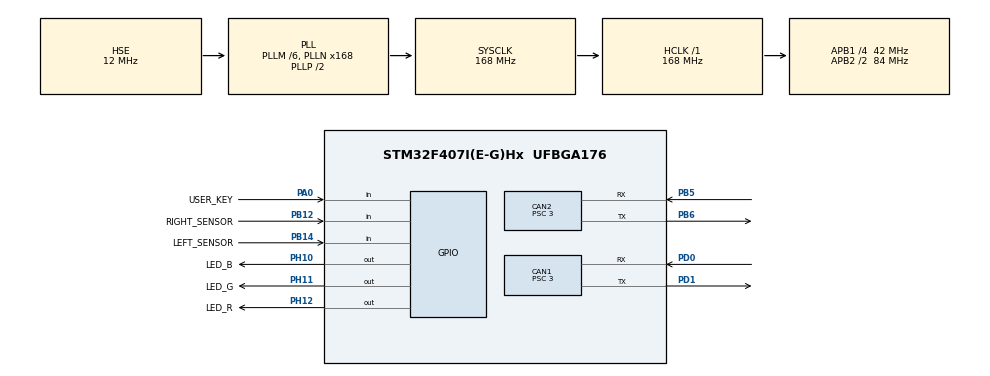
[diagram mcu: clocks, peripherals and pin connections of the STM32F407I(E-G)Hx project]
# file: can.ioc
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CAN1.BS1=CAN_BS1_10TQ
CAN1.BS2=CAN_BS2_3TQ
CAN1.CalculateTimeQuantum=71.42857142857143
CAN1.Prescaler=3
CAN2.BS1=CAN_BS1_10TQ
CAN2.BS2=CAN_BS2_3TQ
CAN2.CalculateTimeQuantum=71.42857142857143
CAN2.Prescaler=3
Mcu.Family=STM32F4
Mcu.Name=STM32F407I(E-G)Hx
Mcu.Package=UFBGA176
NVIC.CAN1_RX0_IRQn=true\:0\:0\:false\:false\:true\:true\:true
NVIC.CAN2_RX0_IRQn=true\:0\:0\:false\:false\:true\:true\:true
NVIC.PriorityGroup=NVIC_PRIORITYGROUP_4
PA0-WKUP.GPIO_Label=USER_KEY
PA0-WKUP.Signal=GPIO_Input
PA13.Mode=Serial_Wire
PA13.Signal=SYS_JTMS-SWDIO
PA14.Mode=Serial_Wire
PA14.Signal=SYS_JTCK-SWCLK
PB12.GPIO_Label=RIGHT_SENSOR
PB12.GPIO_PuPd=GPIO_PULLDOWN
PB12.Signal=GPIO_Input
PB14.GPIO_Label=LEFT_SENSOR
PB14.GPIO_PuPd=GPIO_PULLDOWN
PB14.Signal=GPIO_Input
PB5.Mode=Slave
PB5.Signal=CAN2_RX
PB6.Mode=Slave
PB6.Signal=CAN2_TX
PD0.Mode=Master
PD0.Signal=CAN1_RX
PD1.Mode=Master
PD1.Signal=CAN1_TX
PH0-OSC_IN.Mode=HSE-External-Oscillator
PH0-OSC_IN.Signal=RCC_OSC_IN
PH1-OSC_OUT.Mode=HSE-External-Oscillator
PH1-OSC_OUT.Signal=RCC_OSC_OUT
PH10.GPIO_Label=LED_B
PH10.GPIO_PuPd=GPIO_NOPULL
PH10.Signal=GPIO_Output
PH11.GPIO_Label=LED_G
PH11.Signal=GPIO_Output
PH12.GPIO_Label=LED_R
PH12.Signal=GPIO_Output
ProjectManager.HeapSize=0x200
ProjectManager.StackSize=0x400
ProjectManager.TargetToolchain=MDK-ARM V5
RCC.48MHZClocksFreq_Value=84000000
RCC.AHBFreq_Value=168000000
RCC.APB1CLKDivider=RCC_HCLK_DIV4
RCC.APB1Freq_Value=42000000
RCC.APB1TimFreq_Value=84000000
RCC.APB2CLKDivider=RCC_HCLK_DIV2
RCC.APB2Freq_Value=84000000
RCC.APB2TimFreq_Value=168000000
RCC.CortexFreq_Value=168000000
RCC.HCLKFreq_Value=168000000
RCC.HSE_VALUE=12000000
RCC.HSI_VALUE=16000000
RCC.LSE_VALUE=32768
RCC.PLLM=6
RCC.PLLN=168
RCC.PLLSourceVirtual=RCC_PLLSOURCE_HSE
RCC.SYSCLKFreq_VALUE=168000000
RCC.SYSCLKSource=RCC_SYSCLKSOURCE_PLLCLK
RCC.VCOOutputFreq_Value=336000000
board=custom

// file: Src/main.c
/* USER CODE BEGIN Header */
/**
  ******************************************************************************
  * @file           : main.c
  * @brief          : Main program body
  ******************************************************************************
  * @attention
  *
  * <h2><center>&copy; Copyright (c) 2019 STMicroelectronics.
  * All rights reserved.</center></h2>
  *
  * This software component is licensed by ST under BSD 3-Clause license,
  * the "License"; You may not use this file except in compliance with the
  * License. You may obtain a copy of the License at:
  *                        opensource.org/licenses/BSD-3-Clause
  *
  ******************************************************************************
  */
/* USER CODE END Header */
#include "main.h"
#include "can.h"
#include "gpio.h"

/* USER CODE BEGIN Includes */
#include "bsp_can.h"
#include "CAN_receive.h"
#include "pid.h"
#include<stdlib.h>
/* USER CODE END Includes */

/* USER CODE BEGIN PM */
#define MAX_SPEED 5000  // divide by 9 gets rpm  // 3000 before
#define REBOUNCE_TIME 1000  // in ms
#define ROBOT_ID 0  // the id of the motor, 0-3
#define MAX_CHANGE_TIME 2000  // in ms, decide when to change TODO: make this bigger
// pid for motor, p small so smooth control
#define RPM_P 1.5  // 1.5 works fine
#define RPM_I 0.1
#define RPM_D 0
// change of rpm per 5ms, smaller transition will be faster but more abrupt (for smooth_transitino)
#define INC_RPM 50
// transition time in ms*10 (for transition())
#define INC_TIME 50
// to enable transition, 0 for none, 1 for fixed time transition, 2 for smooth transition
#define TRANSITION 0
/* USER CODE END PM */

/* USER CODE BEGIN PV */
// PID struct
PID_TypeDef motor_pid[4];

// speed of motor in rpm
float speed;
// count random time
uint16_t random_timer;
// randomly change direction
int8_t direction;
// counter for sensor turning
uint16_t sensor_counter = 0;

/* USER CODE END PV */

void SystemClock_Config(void);
/* USER CODE BEGIN PFP */
// make a smooth transition of speed
void smooth_transition(float pre_speed, float set_speed);
// with transition but not smooth
void transition(float pre_speed, float set_speed);
/* USER CODE END PFP */

int main(void)
{

  /* MCU Configuration--------------------------------------------------------*/

  /* Reset of all peripherals, Initializes the Flash interface and the Systick. */
  HAL_Init();

  /* Configure the system clock */
  SystemClock_Config();

  /* Initialize all configured peripherals */
  MX_GPIO_Init();
  MX_CAN1_Init();
  MX_CAN2_Init();
  /* USER CODE BEGIN 2 */
    can_filter_init();

		for(int i=0; i<4; i++)
  {

    pid_init(&motor_pid[i]);
    motor_pid[i].f_param_init(&motor_pid[i],PID_Speed,16384,5000,10,0,8000,0, RPM_P, RPM_I, RPM_D);  //pid初始化后面三个是PID系数。
	}
  /* USER CODE BEGIN 2 */

    HAL_GPIO_WritePin(LED_R_GPIO_Port, LED_R_Pin, GPIO_PIN_SET);
    HAL_GPIO_WritePin(LED_G_GPIO_Port, LED_G_Pin, GPIO_PIN_SET);
    HAL_GPIO_WritePin(LED_B_GPIO_Port, LED_B_Pin, GPIO_PIN_SET);

  /* USER CODE END 2 */

  /* Infinite loop */
  /* USER CODE BEGIN WHILE */
	// set random speed
	srand((uint32_t)(HAL_GetTick()));
	// random direction
	direction = rand()%2;
	if (!direction){
		direction = -1;
	}

	// init speed to random speed
	speed = MAX_SPEED * (float)(rand()%50 + 50)/100 * direction;  // 50% to 100% * random direction

	// set random timer
	random_timer = MAX_CHANGE_TIME/10 * (float)(rand()%80 + 20)/100;  // ticks every 10 ms

  while (1)
  {
		HAL_Delay(10);

		// update sensor counter for censor time
		if (sensor_counter != 0){
			sensor_counter--;

			// set led red as indicator that it's in sensor state
			HAL_GPIO_WritePin(LED_R_GPIO_Port,LED_R_Pin, (GPIO_PinState)1);
			HAL_GPIO_WritePin(LED_G_GPIO_Port,LED_G_Pin, (GPIO_PinState)0);
			HAL_GPIO_WritePin(LED_B_GPIO_Port,LED_B_Pin, (GPIO_PinState)0);
		}
		// update counter if not in sensor fall back
		else if (!random_timer){
			// set random speed
			srand((uint32_t)(HAL_GetTick()));
			int8_t direction = rand()%2;
			if (!direction){
				direction = -1;
			}

			float prev_speed = speed;
			speed = MAX_SPEED * (float)(rand()%80 + 20)/100 * direction;  // 50% to 100% * random direction

			// transit the speed
			if (TRANSITION == 0){
				motor_pid[ROBOT_ID].target = speed;
				motor_pid[ROBOT_ID].f_cal_pid(&motor_pid[ROBOT_ID],get_chassis_motor_measure_point(ROBOT_ID)->speed_rpm);
				CAN_cmd_chassis(motor_pid[ROBOT_ID].output, motor_pid[ROBOT_ID].output, motor_pid[ROBOT_ID].output, motor_pid[ROBOT_ID].output);

			}
			else if (TRANSITION == 1){
				transition(prev_speed, speed);
			}
			else{
				smooth_transition(prev_speed, speed);
			}

			// randomly change speed
			random_timer = MAX_CHANGE_TIME/10 * (float)(rand()%50 + 50)/100;  // ticks every 10 ms
		}
		else{
			// inc counter
			--random_timer;
		}

		// user key pressed
		if (!HAL_GPIO_ReadPin(USER_KEY_GPIO_Port,USER_KEY_Pin)){
//			// randomly change the speed
//			srand((uint32_t)(HAL_GetTick()));
//			int8_t direction = rand()%2;
//			if (!direction){
//				direction = -1;
//			}
//			speed = MAX_SPEED * (float)(rand()%50 + 50)/100 * direction;  // 50% to 100% * random direction

			// set led red as indicator
			HAL_GPIO_WritePin(LED_R_GPIO_Port,LED_R_Pin, (GPIO_PinState)1);
			HAL_GPIO_WritePin(LED_G_GPIO_Port,LED_G_Pin, (GPIO_PinState)0);
			HAL_GPIO_WritePin(LED_B_GPIO_Port,LED_B_Pin, (GPIO_PinState)0);
		}

		//left sensor
		else if (HAL_GPIO_ReadPin(RIGHT_SENSOR_GPIO_Port, RIGHT_SENSOR_Pin)){
			HAL_Delay(20);  // eliminate pulse
			if (HAL_GPIO_ReadPin(RIGHT_SENSOR_GPIO_Port, RIGHT_SENSOR_Pin)){
				// set led green as indicator
				HAL_GPIO_WritePin(LED_R_GPIO_Port,LED_R_Pin, (GPIO_PinState)0);
				HAL_GPIO_WritePin(LED_G_GPIO_Port,LED_G_Pin, (GPIO_PinState)1);
				HAL_GPIO_WritePin(LED_B_GPIO_Port,LED_B_Pin, (GPIO_PinState)0);

				// move right
				// update random speed when exit the move right
				random_timer = 0;

				// transit the speed
				if (TRANSITION == 0){
					// do nothing, send directly
				}
				else if (TRANSITION == 1){
					transition(speed, MAX_SPEED);
				}
				else{
					smooth_transition(speed, MAX_SPEED);
				}

				// still need to send speed otherwise will stop
				speed = MAX_SPEED;
				motor_pid[ROBOT_ID].target = speed;
				motor_pid[ROBOT_ID].f_cal_pid(&motor_pid[ROBOT_ID],get_chassis_motor_measure_point(ROBOT_ID)->speed_rpm);
				CAN_cmd_chassis(motor_pid[ROBOT_ID].output, motor_pid[ROBOT_ID].output, motor_pid[ROBOT_ID].output, motor_pid[ROBOT_ID].output);

				// delay for a while to go the other direction
				sensor_counter = REBOUNCE_TIME/10;
			}
		}

		// right sensor
		else if (HAL_GPIO_ReadPin(LEFT_SENSOR_GPIO_Port, LEFT_SENSOR_Pin)){
			HAL_Delay(20);  // eliminate pulse
			if (HAL_GPIO_ReadPin(LEFT_SENSOR_GPIO_Port, LEFT_SENSOR_Pin)){
				// set led blue as indicator
				HAL_GPIO_WritePin(LED_R_GPIO_Port,LED_R_Pin, (GPIO_PinState)0);
				HAL_GPIO_WritePin(LED_G_GPIO_Port,LED_G_Pin, (GPIO_PinState)0);
				HAL_GPIO_WritePin(LED_B_GPIO_Port,LED_B_Pin, (GPIO_PinState)1);

				// move left
				// update random speed when exit the move right
				random_timer = 0;

				// transit the speed
				if (TRANSITION == 0){
					// do nothing, send directly
				}
				else if (TRANSITION == 1){
					transition(speed, -MAX_SPEED);
				}
				else{
					smooth_transition(speed, -MAX_SPEED);
				}

				// set speed
				speed = -MAX_SPEED;
				motor_pid[ROBOT_ID].target = speed;
				motor_pid[ROBOT_ID].f_cal_pid(&motor_pid[ROBOT_ID],get_chassis_motor_measure_point(ROBOT_ID)->speed_rpm);
				CAN_cmd_chassis(motor_pid[ROBOT_ID].output, motor_pid[ROBOT_ID].output, motor_pid[ROBOT_ID].output, motor_pid[ROBOT_ID].output);

				// delay for a while to go the other direction
				sensor_counter = REBOUNCE_TIME/10;
			}
		}

		else{
			// set led white when in random state
			HAL_GPIO_WritePin(LED_R_GPIO_Port,LED_R_Pin, (GPIO_PinState)1);
			HAL_GPIO_WritePin(LED_G_GPIO_Port,LED_G_Pin, (GPIO_PinState)1);
			HAL_GPIO_WritePin(LED_B_GPIO_Port,LED_B_Pin, (GPIO_PinState)1);

			// stop motor
			// pid to control motor speed
			motor_pid[ROBOT_ID].target = speed;
			motor_pid[ROBOT_ID].f_cal_pid(&motor_pid[ROBOT_ID],get_chassis_motor_measure_point(ROBOT_ID)->speed_rpm);    //把第二个参数改成读取的速度?
			CAN_cmd_chassis(motor_pid[ROBOT_ID].output, motor_pid[ROBOT_ID].output, motor_pid[ROBOT_ID].output, motor_pid[ROBOT_ID].output);

		}

    /* USER CODE END WHILE */

  }
}

void SystemClock_Config(void)
{
  RCC_OscInitTypeDef RCC_OscInitStruct = {0};
  RCC_ClkInitTypeDef RCC_ClkInitStruct = {0};

  /** Configure the main internal regulator output voltage
  */
  __HAL_RCC_PWR_CLK_ENABLE();
  __HAL_PWR_VOLTAGESCALING_CONFIG(PWR_REGULATOR_VOLTAGE_SCALE1);
  /** Initializes the RCC Oscillators according to the specified parameters
  * in the RCC_OscInitTypeDef structure.
  */
  RCC_OscInitStruct.OscillatorType = RCC_OSCILLATORTYPE_HSE;
  RCC_OscInitStruct.HSEState = RCC_HSE_ON;
  RCC_OscInitStruct.PLL.PLLState = RCC_PLL_ON;
  RCC_OscInitStruct.PLL.PLLSource = RCC_PLLSOURCE_HSE;
  RCC_OscInitStruct.PLL.PLLM = 6;
  RCC_OscInitStruct.PLL.PLLN = 168;
  RCC_OscInitStruct.PLL.PLLP = RCC_PLLP_DIV2;
  RCC_OscInitStruct.PLL.PLLQ = 4;
  if (HAL_RCC_OscConfig(&RCC_OscInitStruct) != HAL_OK)
  {
    Error_Handler();
  }
  /** Initializes the CPU, AHB and APB buses clocks
  */
  RCC_ClkInitStruct.ClockType = RCC_CLOCKTYPE_HCLK|RCC_CLOCKTYPE_SYSCLK
                              |RCC_CLOCKTYPE_PCLK1|RCC_CLOCKTYPE_PCLK2;
  RCC_ClkInitStruct.SYSCLKSource = RCC_SYSCLKSOURCE_PLLCLK;
  RCC_ClkInitStruct.AHBCLKDivider = RCC_SYSCLK_DIV1;
  RCC_ClkInitStruct.APB1CLKDivider = RCC_HCLK_DIV4;
  RCC_ClkInitStruct.APB2CLKDivider = RCC_HCLK_DIV2;

  if (HAL_RCC_ClockConfig(&RCC_ClkInitStruct, FLASH_LATENCY_5) != HAL_OK)
  {
    Error_Handler();
  }
}

/* USER CODE BEGIN 4 */
void smooth_transition(float pre_speed, float set_speed){
	// one transition took 500ms, transform from previous speed to set speed
	int16_t inc = (set_speed - pre_speed)/INC_RPM;

	// if inc == 0, then no need to transition
	if (inc > 0){
		for(size_t i = 0; i < inc; ++i){
			HAL_Delay(5);
			// cal pid and send to motor
			motor_pid[ROBOT_ID].target = pre_speed + INC_RPM * i;
			motor_pid[ROBOT_ID].f_cal_pid(&motor_pid[ROBOT_ID],get_chassis_motor_measure_point(ROBOT_ID)->speed_rpm);
			CAN_cmd_chassis(motor_pid[ROBOT_ID].output, motor_pid[ROBOT_ID].output, motor_pid[ROBOT_ID].output, motor_pid[ROBOT_ID].output);
		}
	}
	else if (inc < 0){
		for(size_t i = 0; i < -inc; ++i){
			HAL_Delay(5);
			// cal pid and send to motor
			motor_pid[ROBOT_ID].target = pre_speed - INC_RPM * i;
			motor_pid[ROBOT_ID].f_cal_pid(&motor_pid[ROBOT_ID],get_chassis_motor_measure_point(ROBOT_ID)->speed_rpm);
			CAN_cmd_chassis(motor_pid[ROBOT_ID].output, motor_pid[ROBOT_ID].output, motor_pid[ROBOT_ID].output, motor_pid[ROBOT_ID].output);
		}
	}
}

void transition(float pre_speed, float set_speed){
	// TODO: change to a better transition
	// one transition took 500ms, transform from previous speed to set speed
	int16_t inc = (set_speed - pre_speed)/INC_TIME;
	if (inc == 0){
		return;
	}

	for(size_t i = 0; i < INC_TIME; ++i){
		HAL_Delay(10);
		// cal pid and send to motor
		motor_pid[ROBOT_ID].target = pre_speed + (float)inc * i;
		motor_pid[ROBOT_ID].f_cal_pid(&motor_pid[ROBOT_ID],get_chassis_motor_measure_point(ROBOT_ID)->speed_rpm);
		CAN_cmd_chassis(motor_pid[ROBOT_ID].output, motor_pid[ROBOT_ID].output, motor_pid[ROBOT_ID].output, motor_pid[ROBOT_ID].output);
	}
}
/* USER CODE END 4 */

void Error_Handler(void)
{
}

/************************ (C) COPYRIGHT STMicroelectronics *****END OF FILE****/
